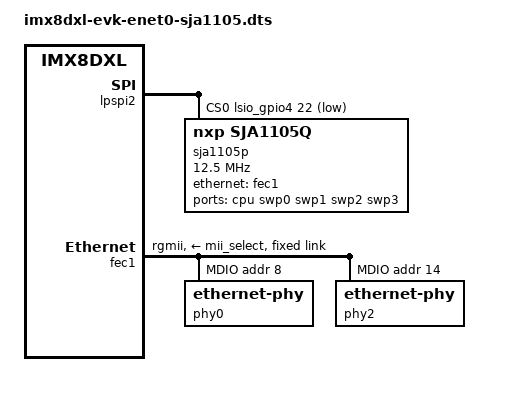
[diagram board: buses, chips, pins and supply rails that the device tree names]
// SPDX-License-Identifier: GPL-2.0+
/*
 * Copyright 2023 NXP
 */

/dts-v1/;

#include "imx8dxl-evk.dts"

&iomuxc {
	pinctrl_lpspi2: lpspi2grp {
		fsl,pins = <
			IMX8DXL_USDHC1_VSELECT_ADMA_SPI2_SDO    0x600004c
			IMX8DXL_USDHC1_WP_ADMA_SPI2_SDI         0x600004c
			IMX8DXL_USDHC1_RESET_B_ADMA_SPI2_SCK    0x600004c
		>;
	};

	pinctrl_lpspi2_cs: lpspi2cs {
		fsl,pins = <
			IMX8DXL_USDHC1_CD_B_LSIO_GPIO4_IO22        0x21
		>;
	};
};

&lpspi2 {
	fsl,spi-num-chipselects = <1>;
	pinctrl-names = "default";
	pinctrl-0 = <&pinctrl_lpspi2 &pinctrl_lpspi2_cs>;
	cs-gpios = <&lsio_gpio4 22 GPIO_ACTIVE_LOW>;
	status = "okay";

	sja1105p@0 {
		compatible = "nxp,sja1105q";
		spi-max-frequency = <12500000>;
		/* SJA1105PQRS operates in SPI MODE 1 : CPOL=0 CPHA=1 */
		spi-cpha;

		reg = <0>;

		ports {
			#address-cells = <1>;
			#size-cells = <0>;

			port@0 {
				reg = <0>;
				label = "cpu";
				ethernet = <&fec1>;
				phy-mode = "rgmii";
				rx-internal-delay-ps = <2000>;
				tx-internal-delay-ps = <2000>;

				fixed-link {
					speed = <1000>;
					full-duplex;
				};
			};

			port@1 {
				reg = <1>;
				label = "swp0";
				phy-handle = <&phy0>;
				phy-mode = "mii";
			};

			port@2 {
				reg = <2>;
				label = "swp1";
				phy-handle = <&phy1>;
				phy-mode = "mii";
			};

			port@3 {
				reg = <3>;
				label = "swp2";
				phy-handle = <&phy2>;
				phy-mode = "rmii";
			};

			port@4 {
				reg = <4>;
				label = "swp3";
				phy-handle = <&phy3>;
				phy-mode = "rmii";
			};
		};
	};
};

&ethphy1 {
	status = "disabled";
};

&fec1 {
	assigned-clocks = <&clk IMX_SC_R_ENET_0 IMX_SC_C_CLKDIV>;
	assigned-clock-rates = <12000000>;
	phy-supply = <&mii_select>;
	status = "okay";

	fsl,magic-packet;
	phy-mode = "rgmii";
	/delete-property/ rx-internal-delay-ps;
	/delete-property/ phy-handle;

	fixed-link {
		speed = <1000>;
		full-duplex;
	};

	mdio {
		#address-cells = <1>;
		#size-cells = <0>;
		/* SJA1105Q EVB switch ports : NXP TJA1102
		the phys SMI addresses on EVB are hard coded giving
		first TJA device at offset 0x8 and the 2nd once at offet 0xe */
		phy0: ethernet-phy@8 {
			#address-cells = <1>;
			#size-cells = <0>;
			reg = <0x8>;
			max-speed = <100>;
			phy1: ethernet-phy@9 {
				reg = <0x9>;
				max-speed = <100>;
			};
		};

		phy2: ethernet-phy@e {
			#address-cells = <1>;
			#size-cells = <0>;
			reg = <0xe>;
			max-speed = <100>;
			phy3: ethernet-phy@f {
				reg = <0xf>;
				max-speed = <100>;
			};
		};
	};
};

&reg_fec1_sel {
	status = "okay";
};

/* This would set max7233 (0) to high (intented for PHY power on) and would
 * enable LPC SPI/SMI on the switch EVB which interferes with
 * SPI communcation between the iMX and the SJA1105
*/
&reg_fec1_io {
	status = "disabled";
};

&max7322 {
	status = "disabled";
};

&mii_select {
	/delete-property/ enable-active-high;
};

&eqos {
	status = "disabled";
};

&usdhc2 {
	status = "disabled";
};
